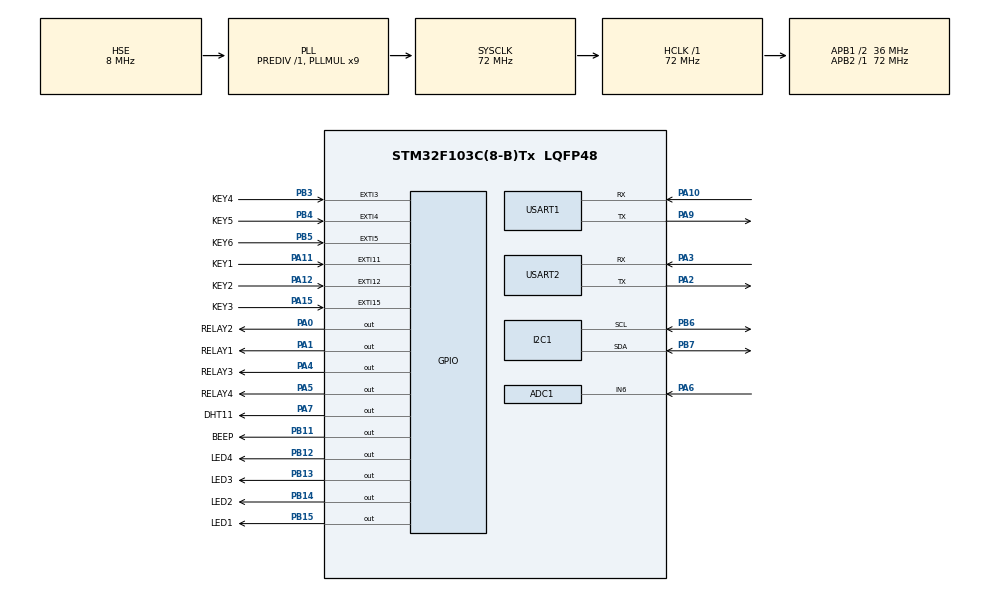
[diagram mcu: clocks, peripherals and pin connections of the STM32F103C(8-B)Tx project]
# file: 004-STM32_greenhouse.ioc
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ADC1.Channel-2\#ChannelRegularConversion=ADC_CHANNEL_6
ADC1.NbrOfConversionFlag=1
ADC1.Rank-2\#ChannelRegularConversion=1
ADC1.SamplingTime-2\#ChannelRegularConversion=ADC_SAMPLETIME_1CYCLE_5
ADC1.master=1
Dma.Request0=USART1_RX
Dma.Request1=USART2_RX
Dma.USART1_RX.0.Direction=DMA_PERIPH_TO_MEMORY
Dma.USART1_RX.0.Instance=DMA1_Channel5
Dma.USART1_RX.0.MemDataAlignment=DMA_MDATAALIGN_BYTE
Dma.USART1_RX.0.MemInc=DMA_MINC_ENABLE
Dma.USART1_RX.0.Mode=DMA_CIRCULAR
Dma.USART1_RX.0.PeriphDataAlignment=DMA_PDATAALIGN_BYTE
Dma.USART1_RX.0.PeriphInc=DMA_PINC_DISABLE
Dma.USART1_RX.0.Priority=DMA_PRIORITY_LOW
Dma.USART2_RX.1.Direction=DMA_PERIPH_TO_MEMORY
Dma.USART2_RX.1.Instance=DMA1_Channel6
Dma.USART2_RX.1.MemDataAlignment=DMA_MDATAALIGN_BYTE
Dma.USART2_RX.1.MemInc=DMA_MINC_ENABLE
Dma.USART2_RX.1.Mode=DMA_CIRCULAR
Dma.USART2_RX.1.PeriphDataAlignment=DMA_PDATAALIGN_BYTE
Dma.USART2_RX.1.PeriphInc=DMA_PINC_DISABLE
Dma.USART2_RX.1.Priority=DMA_PRIORITY_LOW
FREERTOS.Tasks01=defaultTask,0,128,StartDefaultTask,Default,NULL,Dynamic,NULL,NULL
Mcu.Family=STM32F1
Mcu.Name=STM32F103C(8-B)Tx
Mcu.Package=LQFP48
NVIC.DMA1_Channel5_IRQn=true\:5\:0\:false\:false\:true\:true\:false\:true\:true
NVIC.DMA1_Channel6_IRQn=true\:5\:0\:false\:false\:true\:true\:false\:true\:true
NVIC.EXTI15_10_IRQn=true\:5\:0\:false\:false\:true\:true\:true\:true\:true
NVIC.EXTI3_IRQn=true\:5\:0\:false\:false\:true\:true\:true\:true\:true
NVIC.EXTI4_IRQn=true\:5\:0\:false\:false\:true\:true\:true\:true\:true
NVIC.EXTI9_5_IRQn=true\:5\:0\:false\:false\:true\:true\:true\:true\:true
NVIC.PriorityGroup=NVIC_PRIORITYGROUP_4
NVIC.TIM1_UP_IRQn=true\:15\:0\:false\:false\:true\:false\:false\:true\:true
NVIC.TIM3_IRQn=true\:5\:0\:false\:false\:true\:true\:true\:true\:true
NVIC.TimeBase=TIM1_UP_IRQn
NVIC.TimeBaseIP=TIM1
NVIC.USART1_IRQn=true\:5\:0\:false\:false\:true\:true\:true\:true\:true
NVIC.USART2_IRQn=true\:5\:0\:false\:false\:true\:true\:true\:true\:true
PA0-WKUP.GPIO_Label=RELAY2
PA0-WKUP.GPIO_PuPd=GPIO_NOPULL
PA0-WKUP.PinState=GPIO_PIN_RESET
PA0-WKUP.Signal=GPIO_Output
PA1.GPIO_Label=RELAY1
PA1.Signal=GPIO_Output
PA10.Mode=Asynchronous
PA10.Signal=USART1_RX
PA11.GPIO_Label=KEY1
PA11.GPIO_PuPd=GPIO_PULLUP
PA11.Signal=GPXTI11
PA12.GPIO_Label=KEY2
PA12.GPIO_PuPd=GPIO_PULLUP
PA12.Signal=GPXTI12
PA13.Mode=Serial_Wire
PA13.Signal=SYS_JTMS-SWDIO
PA14.Mode=Serial_Wire
PA14.Signal=SYS_JTCK-SWCLK
PA15.GPIO_Label=KEY3
PA15.GPIO_PuPd=GPIO_PULLUP
PA15.Signal=GPXTI15
PA2.Mode=Asynchronous
PA2.Signal=USART2_TX
PA3.Mode=Asynchronous
PA3.Signal=USART2_RX
PA4.GPIO_Label=RELAY3
PA4.Signal=GPIO_Output
PA5.GPIO_Label=RELAY4
PA5.Signal=GPIO_Output
PA6.Signal=ADCx_IN6
PA7.GPIO_Label=DHT11
PA7.Signal=GPIO_Output
PA9.Mode=Asynchronous
PA9.Signal=USART1_TX
PB11.GPIO_Label=BEEP
PB11.Signal=GPIO_Output
PB12.GPIO_Label=LED4
PB12.PinState=GPIO_PIN_SET
PB12.Signal=GPIO_Output
PB13.GPIO_Label=LED3
PB13.PinState=GPIO_PIN_SET
PB13.Signal=GPIO_Output
PB14.GPIO_Label=LED2
PB14.PinState=GPIO_PIN_SET
PB14.Signal=GPIO_Output
PB15.GPIO_Label=LED1
PB15.PinState=GPIO_PIN_SET
PB15.Signal=GPIO_Output
PB3.GPIO_Label=KEY4
PB3.GPIO_PuPd=GPIO_PULLUP
PB3.Signal=GPXTI3
PB4.GPIO_Label=KEY5
PB4.GPIO_PuPd=GPIO_PULLUP
PB4.Signal=GPXTI4
PB5.GPIO_Label=KEY6
PB5.GPIO_PuPd=GPIO_PULLUP
PB5.Signal=GPXTI5
PB6.Mode=I2C
PB6.Signal=I2C1_SCL
PB7.Mode=I2C
PB7.Signal=I2C1_SDA
PC14-OSC32_IN.Mode=LSE-External-Oscillator
PC14-OSC32_IN.Signal=RCC_OSC32_IN
PC15-OSC32_OUT.Mode=LSE-External-Oscillator
PC15-OSC32_OUT.Signal=RCC_OSC32_OUT
PD0-OSC_IN.Mode=HSE-External-Oscillator
PD0-OSC_IN.Signal=RCC_OSC_IN
PD1-OSC_OUT.Mode=HSE-External-Oscillator
PD1-OSC_OUT.Signal=RCC_OSC_OUT
ProjectManager.HeapSize=0x200
ProjectManager.StackSize=0x400
ProjectManager.TargetToolchain=CMake
RCC.ADCPresc=RCC_ADCPCLK2_DIV6
RCC.AHBFreq_Value=72000000
RCC.APB1CLKDivider=RCC_HCLK_DIV2
RCC.APB1Freq_Value=36000000
RCC.APB1TimFreq_Value=72000000
RCC.APB2Freq_Value=72000000
RCC.APB2TimFreq_Value=72000000
RCC.HCLKFreq_Value=72000000
RCC.PLLMUL=RCC_PLL_MUL9
RCC.PLLSourceVirtual=RCC_PLLSOURCE_HSE
RCC.SYSCLKFreq_VALUE=72000000
RCC.SYSCLKSource=RCC_SYSCLKSOURCE_PLLCLK
RCC.USBFreq_Value=72000000
SH.ADCx_IN6.0=ADC1_IN6,IN6
TIM3.AutoReloadPreload=TIM_AUTORELOAD_PRELOAD_ENABLE
TIM3.Period=1000-1
TIM3.Prescaler=72-1
USART1.VirtualMode=VM_ASYNC
USART2.VirtualMode=VM_ASYNC
VP_FREERTOS_VS_CMSIS_V1.Mode=CMSIS_V1
VP_SYS_VS_tim1.Mode=TIM1
VP_TIM3_VS_ClockSourceINT.Mode=Internal
board=custom

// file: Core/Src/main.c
/* USER CODE BEGIN Header */
/**
  ******************************************************************************
  * @file           : main.c
  * @brief          : Main program body
  ******************************************************************************
  * @attention
  *
  * Copyright (c) 2026 STMicroelectronics.
  * All rights reserved.
  *
  * This software is licensed under terms that can be found in the LICENSE file
  * in the root directory of this software component.
  * If no LICENSE file comes with this software, it is provided AS-IS.
  *
  ******************************************************************************
  */
/* USER CODE END Header */
#include "main.h"
#include "cmsis_os.h"
#include "adc.h"
#include "dma.h"
#include "i2c.h"
#include "tim.h"
#include "usart.h"
#include "gpio.h"

/* USER CODE BEGIN Includes */
#include "app.h"
/* USER CODE END Includes */

void SystemClock_Config(void);
void MX_FREERTOS_Init(void);

int main(void)
{

  /* MCU Configuration--------------------------------------------------------*/

  /* Reset of all peripherals, Initializes the Flash interface and the Systick. */
  HAL_Init();

  /* Configure the system clock */
  SystemClock_Config();

  /* Initialize all configured peripherals */
  MX_GPIO_Init();
  MX_DMA_Init();
  MX_ADC1_Init();
  MX_I2C1_Init();
  MX_USART1_UART_Init();
  MX_USART2_UART_Init();
  MX_TIM3_Init();
  /* USER CODE BEGIN 2 */
  /* 本地外设初始化放到调度器启动之前：此刻无并发，DHT11 的 1s 等待不影响任务 */
  APP_InitLocal();
  /* USER CODE END 2 */

  /* Call init function for freertos objects (in cmsis_os2.c) */
  MX_FREERTOS_Init();

  /* Start scheduler */
  osKernelStart();

  /* We should never get here as control is now taken by the scheduler */

  /* Infinite loop */
  while (1)
  {

  }
}

void SystemClock_Config(void)
{
  RCC_OscInitTypeDef RCC_OscInitStruct = {0};
  RCC_ClkInitTypeDef RCC_ClkInitStruct = {0};
  RCC_PeriphCLKInitTypeDef PeriphClkInit = {0};

  /** Initializes the RCC Oscillators according to the specified parameters
  * in the RCC_OscInitTypeDef structure.
  */
  RCC_OscInitStruct.OscillatorType = RCC_OSCILLATORTYPE_HSE;
  RCC_OscInitStruct.HSEState = RCC_HSE_ON;
  RCC_OscInitStruct.HSEPredivValue = RCC_HSE_PREDIV_DIV1;
  RCC_OscInitStruct.HSIState = RCC_HSI_ON;
  RCC_OscInitStruct.PLL.PLLState = RCC_PLL_ON;
  RCC_OscInitStruct.PLL.PLLSource = RCC_PLLSOURCE_HSE;
  RCC_OscInitStruct.PLL.PLLMUL = RCC_PLL_MUL9;
  if (HAL_RCC_OscConfig(&RCC_OscInitStruct) != HAL_OK)
  {
    Error_Handler();
  }

  /** Initializes the CPU, AHB and APB buses clocks
  */
  RCC_ClkInitStruct.ClockType = RCC_CLOCKTYPE_HCLK|RCC_CLOCKTYPE_SYSCLK
                              |RCC_CLOCKTYPE_PCLK1|RCC_CLOCKTYPE_PCLK2;
  RCC_ClkInitStruct.SYSCLKSource = RCC_SYSCLKSOURCE_PLLCLK;
  RCC_ClkInitStruct.AHBCLKDivider = RCC_SYSCLK_DIV1;
  RCC_ClkInitStruct.APB1CLKDivider = RCC_HCLK_DIV2;
  RCC_ClkInitStruct.APB2CLKDivider = RCC_HCLK_DIV1;

  if (HAL_RCC_ClockConfig(&RCC_ClkInitStruct, FLASH_LATENCY_2) != HAL_OK)
  {
    Error_Handler();
  }
  PeriphClkInit.PeriphClockSelection = RCC_PERIPHCLK_ADC;
  PeriphClkInit.AdcClockSelection = RCC_ADCPCLK2_DIV6;
  if (HAL_RCCEx_PeriphCLKConfig(&PeriphClkInit) != HAL_OK)
  {
    Error_Handler();
  }
}

void HAL_TIM_PeriodElapsedCallback(TIM_HandleTypeDef *htim)
{
  if (htim->Instance == TIM1)
  {
    HAL_IncTick();
  }
}

void Error_Handler(void)
{
  __disable_irq();
  while (1)
  {
  }
}

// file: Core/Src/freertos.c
/* USER CODE BEGIN Header */
/**
  ******************************************************************************
  * File Name          : freertos.c
  * Description        : Code for freertos applications
  ******************************************************************************
  */
/* USER CODE END Header */

#include "FreeRTOS.h"
#include "task.h"
#include "main.h"
#include "cmsis_os.h"

/* USER CODE BEGIN Includes */
#include <stdio.h>
#include "app.h"
#include "app_event.h"
#include "app_state.h"
#include "esp01s.h"
#include "gpio.h"
#include "oled.h"
/* USER CODE END Includes */

/* USER CODE BEGIN PD */

/* 周期 */
#define CTRL_PERIOD_MS      100u    /* 按键 / 手自动 / 继电器 / LED */
#define SENSOR_PERIOD_MS    5000u   /* 采样周期，和 003 的 5000 次 1ms 中断一致 */
#define DISPLAY_PERIOD_MS   200u    /* OLED 刷新 */
#define CLOUD_PERIOD_MS     200u    /* 无上报时的轮询节拍 */

/* 栈深度，单位 words（xTaskCreate 的 usStackDepth） */
#define CTRL_STACK_WORDS    192u
#define SENSOR_STACK_WORDS  320u
#define DISPLAY_STACK_WORDS 192u
#define CLOUD_STACK_WORDS   384u

/* USER CODE END PD */

/* USER CODE BEGIN Variables */

/* I2C1 总线互斥量：OLED / BH1750 / EEPROM 三处共用 hi2c1 */
osMutexId g_i2c_mutex = NULL;

/* 采样完成通知：SensorTask 发，CloudTask 收 */
static osSemaphoreId s_sem_report = NULL;

/* USER CODE END Variables */

void StartControlTask(void const * argument);
void StartSensorTask(void const * argument);
void StartDisplayTask(void const * argument);
void StartCloudTask(void const * argument);

void MX_FREERTOS_Init(void); /* (MISRA C 2004 rule 8.1) */

/* GetIdleTaskMemory prototype (linked to static allocation support) */
void vApplicationGetIdleTaskMemory( StaticTask_t **ppxIdleTaskTCBBuffer, StackType_t **ppxIdleTaskStackBuffer, uint32_t *pulIdleTaskStackSize );

/* USER CODE BEGIN GET_IDLE_TASK_MEMORY */
static StaticTask_t xIdleTaskTCBBuffer;
static StackType_t xIdleStack[configMINIMAL_STACK_SIZE];

void vApplicationGetIdleTaskMemory( StaticTask_t **ppxIdleTaskTCBBuffer, StackType_t **ppxIdleTaskStackBuffer, uint32_t *pulIdleTaskStackSize )
{
  *ppxIdleTaskTCBBuffer = &xIdleTaskTCBBuffer;
  *ppxIdleTaskStackBuffer = &xIdleStack[0];
  *pulIdleTaskStackSize = configMINIMAL_STACK_SIZE;
  /* place for user code */
}
/* USER CODE END GET_IDLE_TASK_MEMORY */

void MX_FREERTOS_Init(void) {

  /* USER CODE BEGIN RTOS_MUTEX */
  osMutexDef(i2cMutex);
  g_i2c_mutex = osMutexCreate(osMutex(i2cMutex));
  /* USER CODE END RTOS_MUTEX */

  /* USER CODE BEGIN RTOS_SEMAPHORES */
  osSemaphoreDef(reportSem);
  s_sem_report = osSemaphoreCreate(osSemaphore(reportSem), 1);
  /* 先取一次清零：CloudTask 只在有新的采样结果时才上报 */
  if (s_sem_report != NULL) {
    (void)osSemaphoreWait(s_sem_report, 0u);
  }
  /* USER CODE END RTOS_SEMAPHORES */

  /* USER CODE BEGIN RTOS_THREADS */
  osThreadDef(controlTask, StartControlTask, osPriorityAboveNormal, 0, CTRL_STACK_WORDS);
  (void)osThreadCreate(osThread(controlTask), NULL);

  osThreadDef(sensorTask, StartSensorTask, osPriorityNormal, 0, SENSOR_STACK_WORDS);
  (void)osThreadCreate(osThread(sensorTask), NULL);

  osThreadDef(displayTask, StartDisplayTask, osPriorityBelowNormal, 0, DISPLAY_STACK_WORDS);
  (void)osThreadCreate(osThread(displayTask), NULL);

  /* 云端任务优先级最低：AT 指令是阻塞轮询等待，别让它抢占本地控制 */
  osThreadDef(cloudTask, StartCloudTask, osPriorityLow, 0, CLOUD_STACK_WORDS);
  (void)osThreadCreate(osThread(cloudTask), NULL);
  /* USER CODE END RTOS_THREADS */

}

/* USER CODE BEGIN Header_StartControlTask */
/**
  * @brief  本地控制任务：按键事件 -> 手自动 -> 继电器 -> LED。
  *         100ms 一个节拍，等价于 003 主循环去掉显示与云端之后的骨架。
  */
/* USER CODE END Header_StartControlTask */
void StartControlTask(void const * argument)
{
  /* USER CODE BEGIN StartControlTask */
  uint8_t idx;

  (void)argument;
  for(;;)
  {
    /* 只保留最后一个按键：取一次就够，后面的按键已经覆盖前面的 */
    if (EV_KeyTake(&idx) != 0u) {
      APP_Key(idx);
    }

    APP_ManualPoll();      /* 手动 60s 无新指令 -> 回自动 */
    APP_Data_Ctrl();       /* 阈值 + 回差，仅自动模式改执行器与报警位 */
    GPIO_RelayApply();     /* 逻辑开关 -> 四路继电器 */
    LED_Scan();            /* 自动/手动 + 正常/报警 */

    osDelay(CTRL_PERIOD_MS);
  }
  /* USER CODE END StartControlTask */
}

/* USER CODE BEGIN Header_StartSensorTask */
/**
  * @brief  采集任务：DHT11 / BH1750 / 土壤 ADC，采完通知云端任务。
  */
/* USER CODE END Header_StartSensorTask */
void StartSensorTask(void const * argument)
{
  /* USER CODE BEGIN StartSensorTask */
  (void)argument;
  for(;;)
  {
    APP_GET_DATA();

    printf("temp=%d humi=%d ill=%d soil=%d\r\n",
           (int)g_app.env_data.temp, (int)g_app.env_data.humi,
           (int)g_app.env_data.ill,  (int)g_app.env_data.soil);

    if (s_sem_report != NULL) {
      (void)osSemaphoreRelease(s_sem_report);
    }

    osDelay(SENSOR_PERIOD_MS);
  }
  /* USER CODE END StartSensorTask */
}

/* USER CODE BEGIN Header_StartDisplayTask */
/**
  * @brief  显示任务：200ms 刷一页，OLED 与 BH1750 共用 I2C1，所以要拿锁。
  */
/* USER CODE END Header_StartDisplayTask */
void StartDisplayTask(void const * argument)
{
  /* USER CODE BEGIN StartDisplayTask */
  (void)argument;
  for(;;)
  {
    APP_I2C_Lock();
    OLED_ALL();
    APP_I2C_Unlock();

    osDelay(DISPLAY_PERIOD_MS);
  }
  /* USER CODE END StartDisplayTask */
}

/* USER CODE BEGIN Header_StartCloudTask */
/**
  * @brief  云端任务：先连 WiFi/MQTT（阻塞约 10s），之后有采样就上报，
  *         并在每个节拍解析下行 property/set。
  */
/* USER CODE END Header_StartCloudTask */
void StartCloudTask(void const * argument)
{
  /* USER CODE BEGIN StartCloudTask */
  (void)argument;

  /* 放在任务里而不是 APP_InitLocal：这段最长 10s，不该挡住 OLED 和采集 */
  (void)ESP01S_Init();

  for(;;)
  {
    if (osSemaphoreWait(s_sem_report, CLOUD_PERIOD_MS) == osOK) {
      ESP01S_Send_Data();   /* 温湿光土 */
      ESP01S_Send_SW();     /* 四路开关状态 */
    }

    ESP01S_ParseMQTTMessage();
  }
  /* USER CODE END StartCloudTask */
}
